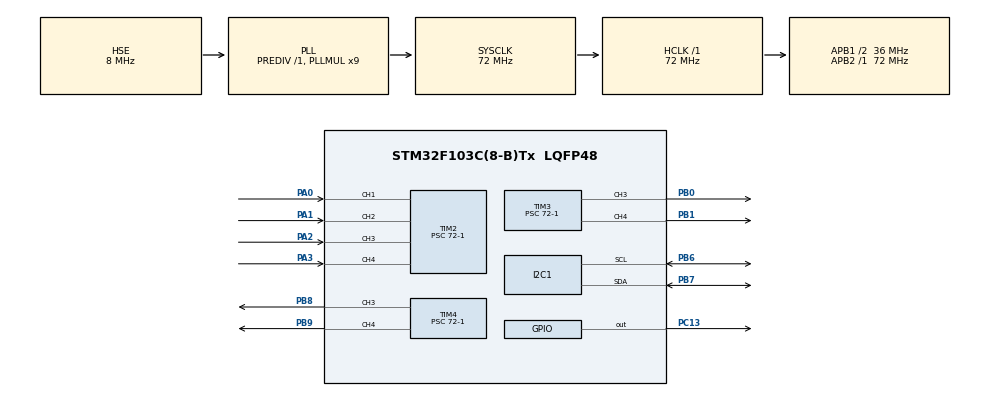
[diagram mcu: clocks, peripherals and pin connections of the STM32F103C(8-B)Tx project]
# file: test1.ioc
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I2C1.DutyCycle=I2C_DUTYCYCLE_16_9
I2C1.I2C_Mode=I2C_Fast
Mcu.Family=STM32F1
Mcu.Name=STM32F103C(8-B)Tx
Mcu.Package=LQFP48
NVIC.PriorityGroup=NVIC_PRIORITYGROUP_4
NVIC.TIM2_IRQn=true\:0\:0\:true\:false\:true\:true\:true\:true
NVIC.TIM3_IRQn=true\:0\:0\:false\:false\:true\:true\:true\:true
NVIC.TIM4_IRQn=true\:0\:0\:false\:false\:true\:true\:true\:true
PA0-WKUP.Signal=S_TIM2_CH1_ETR
PA1.Signal=S_TIM2_CH2
PA13.Mode=Serial_Wire
PA13.Signal=SYS_JTMS-SWDIO
PA14.Mode=Serial_Wire
PA14.Signal=SYS_JTCK-SWCLK
PA2.Signal=S_TIM2_CH3
PA3.Signal=S_TIM2_CH4
PB0.Signal=S_TIM3_CH3
PB1.Signal=S_TIM3_CH4
PB6.Mode=I2C
PB6.Signal=I2C1_SCL
PB7.Mode=I2C
PB7.Signal=I2C1_SDA
PB8.Signal=S_TIM4_CH3
PB9.Signal=S_TIM4_CH4
PC13-TAMPER-RTC.Signal=GPIO_Output
PD0-OSC_IN.Mode=HSE-External-Oscillator
PD0-OSC_IN.Signal=RCC_OSC_IN
PD1-OSC_OUT.Mode=HSE-External-Oscillator
PD1-OSC_OUT.Signal=RCC_OSC_OUT
ProjectManager.HeapSize=0x200
ProjectManager.StackSize=0x400
ProjectManager.TargetToolchain=STM32CubeIDE
RCC.AHBFreq_Value=72000000
RCC.APB1CLKDivider=RCC_HCLK_DIV2
RCC.APB1Freq_Value=36000000
RCC.APB1TimFreq_Value=72000000
RCC.APB2Freq_Value=72000000
RCC.APB2TimFreq_Value=72000000
RCC.HCLKFreq_Value=72000000
RCC.PLLMUL=RCC_PLL_MUL9
RCC.PLLSourceVirtual=RCC_PLLSOURCE_HSE
RCC.SYSCLKFreq_VALUE=72000000
RCC.SYSCLKSource=RCC_SYSCLKSOURCE_PLLCLK
RCC.USBFreq_Value=48000000
RCC.USBPrescaler=RCC_USBCLKSOURCE_PLL_DIV1_5
SH.S_TIM2_CH1_ETR.0=TIM2_CH1,Input_Capture1_from_TI1
SH.S_TIM2_CH2.0=TIM2_CH2,Input_Capture2_from_TI2
SH.S_TIM2_CH3.0=TIM2_CH3,Input_Capture3_from_TI3
SH.S_TIM2_CH4.0=TIM2_CH4,Input_Capture4_from_TI4
SH.S_TIM3_CH3.0=TIM3_CH3,PWM Generation3 CH3
SH.S_TIM3_CH4.0=TIM3_CH4,PWM Generation4 CH4
SH.S_TIM4_CH3.0=TIM4_CH3,PWM Generation3 CH3
SH.S_TIM4_CH4.0=TIM4_CH4,PWM Generation4 CH4
TIM2.Channel-Input_Capture1_from_TI1=TIM_CHANNEL_1
TIM2.Channel-Input_Capture2_from_TI2=TIM_CHANNEL_2
TIM2.Channel-Input_Capture3_from_TI3=TIM_CHANNEL_3
TIM2.Channel-Input_Capture4_from_TI4=TIM_CHANNEL_4
TIM2.Prescaler=72-1
TIM3.Channel-PWM\ Generation3\ CH3=TIM_CHANNEL_3
TIM3.Channel-PWM\ Generation4\ CH4=TIM_CHANNEL_4
TIM3.Period=5000
TIM3.Prescaler=72-1
TIM3.Pulse-PWM\ Generation3\ CH3=0
TIM3.Pulse-PWM\ Generation4\ CH4=0
TIM4.Channel-PWM\ Generation3\ CH3=TIM_CHANNEL_3
TIM4.Channel-PWM\ Generation4\ CH4=TIM_CHANNEL_4
TIM4.OCMode_PWM-PWM\ Generation3\ CH3=TIM_OCMODE_PWM1
TIM4.Period=5000
TIM4.Prescaler=72-1
TIM4.Pulse-PWM\ Generation3\ CH3=0
TIM4.Pulse-PWM\ Generation4\ CH4=0
VP_TIM3_VS_ClockSourceINT.Mode=Internal
VP_TIM4_VS_ClockSourceINT.Mode=Internal
board=custom

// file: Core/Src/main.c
/* USER CODE BEGIN Header */
/**
 ******************************************************************************
 * @file           : main.c
 * @brief          : Main program body
 ******************************************************************************
 * @attention
 *
 * Copyright (c) 2022 STMicroelectronics.
 * All rights reserved.
 *
 * This software is licensed under terms that can be found in the LICENSE file
 * in the root directory of this software component.
 * If no LICENSE file comes with this software, it is provided AS-IS.
 *
 ******************************************************************************
 */
/* USER CODE END Header */
#include "main.h"

/* USER CODE BEGIN Includes */
//#include "usbd_cdc_if.h"
#include "math.h"
#include "stdlib.h"
/* USER CODE END Includes */

I2C_HandleTypeDef hi2c1;

TIM_HandleTypeDef htim2;
TIM_HandleTypeDef htim3;
TIM_HandleTypeDef htim4;

void SystemClock_Config(void);
static void MX_GPIO_Init(void);
static void MX_I2C1_Init(void);
static void MX_TIM2_Init(void);
static void MX_TIM3_Init(void);
static void MX_TIM4_Init(void);

/* USER CODE BEGIN 0 */
//Input capture callback
uint32_t channel_1_start, channel_1;
uint32_t channel_2_start, channel_2;
uint32_t channel_3_start, channel_3;
uint32_t channel_4_start, channel_4;

volatile uint32_t diff1 = 0, diff2 = 0, diff3 = 0, diff4 = 0;

uint8_t firt_capture1 = 0, firt_capture2 = 0, firt_capture3 = 0, firt_capture4 =
		0;	//fist_capture? 0-no 1-yes

void HAL_TIM_IC_CaptureCallback(TIM_HandleTypeDef *htim) {
	if (htim->Channel == HAL_TIM_ACTIVE_CHANNEL_1) {
		if (firt_capture1 == 0) {
			channel_1_start = HAL_TIM_ReadCapturedValue(htim, TIM_CHANNEL_1);
			firt_capture1 = 1;
			__HAL_TIM_SET_CAPTUREPOLARITY(htim, TIM_CHANNEL_1,
					TIM_INPUTCHANNELPOLARITY_FALLING);
		} else if (firt_capture1 == 1) {
			channel_1 = HAL_TIM_ReadCapturedValue(htim, TIM_CHANNEL_1);
			if (channel_1 > channel_1_start)
				diff1 = channel_1 - channel_1_start;
			else if (channel_1 < channel_1_start)
				diff1 = (0xffff - channel_1_start) + channel_1;

			__HAL_TIM_SET_CAPTUREPOLARITY(htim, TIM_CHANNEL_1,
					TIM_INPUTCHANNELPOLARITY_RISING);
			firt_capture1 = 0;
		}
	}
	if (htim->Channel == HAL_TIM_ACTIVE_CHANNEL_2) {
		if (firt_capture2 == 0) {					//read
			channel_2_start = HAL_TIM_ReadCapturedValue(htim, TIM_CHANNEL_2);
			firt_capture2 = 1;
			__HAL_TIM_SET_CAPTUREPOLARITY(htim, TIM_CHANNEL_2,
					TIM_INPUTCHANNELPOLARITY_FALLING);
		} else if (firt_capture2 == 1) {
			channel_2 = HAL_TIM_ReadCapturedValue(htim, TIM_CHANNEL_2);
			if (channel_2 > channel_2_start)
				diff2 = channel_2 - channel_2_start;
			else if (channel_2 < channel_2_start)
				diff2 = (0xffff - channel_2_start) + channel_2;

			__HAL_TIM_SET_CAPTUREPOLARITY(htim, TIM_CHANNEL_2,
					TIM_INPUTCHANNELPOLARITY_RISING);
			firt_capture2 = 0;
		}
	}
	if (htim->Channel == HAL_TIM_ACTIVE_CHANNEL_3) {
		if (firt_capture3 == 0) {					//read
			channel_3_start = HAL_TIM_ReadCapturedValue(htim, TIM_CHANNEL_3);
			firt_capture3 = 1;
			//Change the input capture mode to the falling edge of the pulse
			__HAL_TIM_SET_CAPTUREPOLARITY(htim, TIM_CHANNEL_3,
					TIM_INPUTCHANNELPOLARITY_FALLING);
		} else if (firt_capture3 == 1) {
			channel_3 = HAL_TIM_ReadCapturedValue(htim, TIM_CHANNEL_3);
			if (channel_3 > channel_3_start)
				diff3 = channel_3 - channel_3_start;
			else if (channel_3 < channel_3_start)
				diff3 = (0xffff - channel_3_start) + channel_3;

			__HAL_TIM_SET_CAPTUREPOLARITY(htim, TIM_CHANNEL_3,
					TIM_INPUTCHANNELPOLARITY_RISING);
			firt_capture3 = 0;
		}
	}
	if (htim->Channel == HAL_TIM_ACTIVE_CHANNEL_4) {
		if (firt_capture4 == 0) {					//read
			channel_4_start = HAL_TIM_ReadCapturedValue(htim, TIM_CHANNEL_4);
			firt_capture4 = 1;
			//Change the input capture mode to the falling edge of the pulse
			__HAL_TIM_SET_CAPTUREPOLARITY(htim, TIM_CHANNEL_4,
					TIM_INPUTCHANNELPOLARITY_FALLING);
		} else if (firt_capture4 == 1) {
			channel_4 = HAL_TIM_ReadCapturedValue(htim, TIM_CHANNEL_4);
			if (channel_4 > channel_4_start)
				diff4 = channel_4 - channel_4_start;
			else if (channel_4 < channel_4_start)
				diff4 = (0xffff - channel_4_start) + channel_4;

			__HAL_TIM_SET_CAPTUREPOLARITY(htim, TIM_CHANNEL_4,
					TIM_INPUTCHANNELPOLARITY_RISING);
			firt_capture4 = 0;
		}
	}
}
//MPU6050
///////////////////////////////////////////////////////////////////////////////////////////////////////////////////////////////////////
#define MPU6050_ADDR 0xD0
#define SMPLRT_DIV_REG 0x19
#define GYRO_CONFIG_REG 0x1B
#define ACCEL_CONFIG_REG 0x1C
#define ACCEL_XOUT_H_REG 0x3B
#define TEMP_OUT_H_REG 0x41
#define GYRO_XOUT_H_REG 0x43
#define PWR_MGMT_1_REG 0x6B
#define WHO_AM_I_REG 0x75

int16_t Accel_X_RAW = 0, Accel_Y_RAW = 0, Accel_Z_RAW = 0, Gyro_X_RAW = 0,
		Gyro_Y_RAW = 0, Gyro_Z_RAW = 0;
int16_t temp_raw = 0;
float Ax, Ay, Az, Gx, Gy, Gz, temp;

//the gyro offset
//int16_t os_Ax = 71, os_Ay = 96, os_Az = 4456, os_Gx = -299, os_Gy = -43, os_Gz = 13;	//1
//int16_t os_Ax = 79, os_Ay = 90, os_Az = 4463, os_Gx = -301, os_Gy = -43, os_Gz = 13;	//2
//int16_t os_Ax = -50, os_Ay = 115, os_Az = 4569, os_Gx = -302, os_Gy = -43, os_Gz = 13;	//3
int16_t os_Ax = 114, os_Ay = 56, os_Az = 4566, os_Gx = -300, os_Gy = -52,
		os_Gz = 11;	//4
//int16_t os_Ax = 0, os_Ay = 0, os_Az = 0, os_Gx = 0, os_Gy = 0, os_Gz = 0;

int32_t ax_cal = 0, ay_cal = 0, az_cal = 0, gx_cal = 0, gy_cal = 0, gz_cal = 0;

void MPU6050_Init(void) {
	uint8_t check, Data;

	// check device ID WHO_AM_I

	HAL_I2C_Mem_Read(&hi2c1, MPU6050_ADDR, WHO_AM_I_REG, 1, &check, 1, 1000);

	if (check == 104) // 0x68 will be returned by the sensor if everything goes well
			{
		// power management register 0X6B we should write all 0's to wake the sensor up
		Data = 0;
		HAL_I2C_Mem_Write(&hi2c1, MPU6050_ADDR, PWR_MGMT_1_REG, 1, &Data, 1,
				1000);	//done

		// Set Gyroscopic configuration in GYRO_CONFIG Register
		// XG_ST=0,YG_ST=0,ZG_ST=0, FS_SEL=1 -> ± 500 °/s
		Data = 0x08;
		HAL_I2C_Mem_Write(&hi2c1, MPU6050_ADDR, GYRO_CONFIG_REG, 1, &Data, 1,
				1000);
		// Set accelerometer configuration in ACCEL_CONFIG Register
		// XA_ST=0,YA_ST=0,ZA_ST=0, FS_SEL=3 -> ± 8g
		Data = 0x10;
		HAL_I2C_Mem_Write(&hi2c1, MPU6050_ADDR, ACCEL_CONFIG_REG, 1, &Data, 1,
				1000);

		Data = 0x03;
		HAL_I2C_Mem_Write(&hi2c1, MPU6050_ADDR, 0x1A, 1, &Data, 1, 1000);
	}
}

void MPU6050_Read(void) {
	uint8_t Rec_Data[14];

	HAL_I2C_Mem_Read(&hi2c1, MPU6050_ADDR, ACCEL_XOUT_H_REG, 1, Rec_Data, 14,
			1000);

	Accel_X_RAW = (int16_t) Rec_Data[0] << 8 | Rec_Data[1];
	Accel_Y_RAW = (int16_t) Rec_Data[2] << 8 | Rec_Data[3];
	Accel_Z_RAW = (int16_t) Rec_Data[4] << 8 | Rec_Data[5];
	temp_raw = (int16_t) Rec_Data[6] << 8 | Rec_Data[7];
	Gyro_X_RAW = (int16_t) Rec_Data[8] << 8 | Rec_Data[9];
	Gyro_Y_RAW = (int16_t) Rec_Data[10] << 8 | Rec_Data[11];
	Gyro_Z_RAW = (int16_t) Rec_Data[12] << 8 | Rec_Data[13];

	Gyro_Y_RAW *= -1;
	Gyro_Z_RAW *= -1;

	Accel_X_RAW -= os_Ax;
	Accel_Y_RAW -= os_Ay;
	Accel_Z_RAW -= os_Az;
	Gyro_X_RAW -= os_Gx;
	Gyro_Y_RAW -= os_Gy;
	Gyro_Z_RAW -= os_Gz;
}

void offset_calculate() {
	for (int i = 0; i < 500; i++) {
		MPU6050_Read();
		HAL_Delay(4);
	}
	for (int j = 0; j < 3000; j++) {
		MPU6050_Read();
		ax_cal += Accel_X_RAW;
		ay_cal += Accel_Y_RAW;
		az_cal += Accel_Z_RAW;
		gx_cal += Gyro_X_RAW;
		gy_cal += Gyro_Y_RAW;
		gz_cal += Gyro_Z_RAW;
		HAL_Delay(4);
	}
	os_Ax = ax_cal / 3000;
	os_Ay = ay_cal / 3000;
	os_Az = az_cal / 3000;
	os_Gx = gx_cal / 3000;
	os_Gy = gy_cal / 3000;
	os_Gz = gz_cal / 3000;
}

//PID gain and limit settings
#define roll     0
#define pitch    1
#define yaw      2
// ------------- Global variables used for PID controller --------------------
float pid_set_points[3] = { 0, 0, 0 }; // roll, pitch, yaw
int pid_max[3] = { 180, 180, 20 };		 // roll, pitch, yaw
// Errors
float errors[3]; // Measured errors (compared to instructions) : [roll, pitch, yaw]
float delta_err[3] = { 0, 0, 0 }; // Error deltas in that order   : roll, pitch, yaw
float error_sum[3] = { 0, 0, 0 }; // Error sums (used for integral component) : [roll, pitch, yaw]
float previous_error[3] = { 0, 0, 0 }; // Last errors (used for derivative component) : [roll, pitch, yaw]
// PID coefficients
//float Kp[3] = { 0.4, 0.4, 0.4 };     	   // P: roll, pitch, yaw
float Kp[3] = { 4, 4, 0.4 };
float Ki[3] = {0.15, 0.15, 0.02}; 	 	// I: roll, pitch, yaw
//float Ki[3] = { 0.0, 0.0, 0.0 };
float Kd[3] = { 0.01, 0.01, 0 };         // D: roll, pitch, yaw

float pid_roll = 0;
float pid_pitch = 0;
float pid_yaw = 0;
// ---------------------------------------------------------------------------

// ----------------------- MPU variables -------------------------------------
// The RAW values got from gyro (in °/sec) in that order: X, Y, Z
int gyro_raw[3] = { 0, 0, 0 };
// Average gyro offsets of each axis in that order: X, Y, Z
long gyro_offset[3] = { 0, 0, 0 };
// Calculated angles from gyro's values in that order: X, Y, Z
float gyro_angle[3] = { 0, 0, 0 };
// The RAW values got from accelerometer (in m/sec²) in that order: X, Y, Z
int acc_raw[3] = { 0, 0, 0 };
// Calculated angles from accelerometer's values in that order: X, Y, Z
float acc_angle[3] = { 0, 0, 0 };
// Total 3D acceleration vector in m/s²
long acc_total_vector;
// Calculated angular motion on each axis: roll, pitch, yaw
float angular_motions[3] = { 0, 0, 0 };
float pre_angular_motions[3] = { 0, 0, 0 };
float measures[3] = { 0, 0, 0 };

uint8_t active, first_angle = 0;
int16_t esc1, esc2, esc3, esc4, throttle;
uint32_t looptimer;
float pitch_adjust, roll_adjust, pitch_angle, roll_angle;

//KALMAN-------------------------------------------------------------------------------------------
float Kalman_angle_pitch_acc, Kalman_angle_roll_acc, Kalman_Gx, Kalman_Gy,
		Kalman_Gz;

float _err_measure;
float _err_estimate;
float _q;
float _current_estimate;
float _last_estimate = 0;
float _kalman_gain;
void KalmanFilterX(float mea_e, float est_e, float q) {
	_err_measure = mea_e;
	_err_estimate = est_e;
	_q = q;
}
float updateEstimateX(float mea) {
	_kalman_gain = _err_estimate / (_err_estimate + _err_measure);
	_current_estimate = _last_estimate + _kalman_gain * (mea - _last_estimate);
	_err_estimate = (1.0 - _kalman_gain) * _err_estimate
			+ fabs(_last_estimate - _current_estimate) * _q;
	_last_estimate = _current_estimate;
	return _current_estimate;
}

float _err_measure1;
float _err_estimate1;
float _q1;
float _current_estimate1;
float _last_estimate1 = 0;
float _kalman_gain1;
void KalmanFilterY(float mea_e1, float est_e1, float q1) {
	_err_measure1 = mea_e1;
	_err_estimate1 = est_e1;
	_q1 = q1;
}
float updateEstimateY(float mea1) {
	_kalman_gain1 = _err_estimate1 / (_err_estimate1 + _err_measure1);
	_current_estimate1 = _last_estimate1
			+ _kalman_gain1 * (mea1 - _last_estimate1);
	_err_estimate1 = (1.0 - _kalman_gain1) * _err_estimate1
			+ fabs(_last_estimate1 - _current_estimate1) * _q1;
	_last_estimate1 = _current_estimate1;
	return _current_estimate1;
}

float _err_measure2;
float _err_estimate2;
float _q2;
float _current_estimate2;
float _last_estimate2 = 0;
float _kalman_gain2;
void KalmanFilterGX(float mea_e2, float est_e2, float q2) {
	_err_measure2 = mea_e2;
	_err_estimate2 = est_e2;
	_q2 = q2;
}
float updateEstimateGX(float mea2) {
	_kalman_gain2 = _err_estimate2 / (_err_estimate2 + _err_measure2);
	_current_estimate2 = _last_estimate2
			+ _kalman_gain2 * (mea2 - _last_estimate2);
	_err_estimate2 = (1.0 - _kalman_gain2) * _err_estimate2
			+ fabs(_last_estimate2 - _current_estimate2) * _q2;
	_last_estimate2 = _current_estimate2;
	return _current_estimate2;
}

float _err_measure3;
float _err_estimate3;
float _q3;
float _current_estimate3;
float _last_estimate3 = 0;
float _kalman_gain3;
void KalmanFilterGY(float mea_e3, float est_e3, float q3) {
	_err_measure3 = mea_e3;
	_err_estimate3 = est_e3;
	_q3 = q3;
}
float updateEstimateGY(float mea3) {
	_kalman_gain3 = _err_estimate3 / (_err_estimate3 + _err_measure3);
	_current_estimate3 = _last_estimate3
			+ _kalman_gain3 * (mea3 - _last_estimate3);
	_err_estimate3 = (1.0 - _kalman_gain3) * _err_estimate3
			+ fabs(_last_estimate3 - _current_estimate3) * _q3;
	_last_estimate3 = _current_estimate3;
	return _current_estimate3;
}

float _err_measure4;
float _err_estimate4;
float _q4;
float _current_estimate4;
float _last_estimate4 = 0;
float _kalman_gain4;
void KalmanFilterGZ(float mea_e4, float est_e4, float q4) {
	_err_measure4 = mea_e4;
	_err_estimate4 = est_e4;
	_q4 = q4;
}
float updateEstimateGZ(float mea4) {
	_kalman_gain4 = _err_estimate4 / (_err_estimate4 + _err_measure4);
	_current_estimate4 = _last_estimate4
			+ _kalman_gain4 * (mea4 - _last_estimate4);
	_err_estimate4 = (1.0 - _kalman_gain4) * _err_estimate4
			+ fabs(_last_estimate4 - _current_estimate4) * _q4;
	_last_estimate4 = _current_estimate4;
	return _current_estimate4;
}

float _err_measureEsc1;
float _err_estimateEsc1;
float _qEsc1;
float _current_estimateEsc1;
float _last_estimateEsc1 = 0;
float _kalman_gainEsc1;
void Kalman_esc1(float mea_eEsc1, float est_eEsc1, float qEsc1) {
	_err_measureEsc1 = mea_eEsc1;
	_err_estimateEsc1 = est_eEsc1;
	_qEsc1 = qEsc1;
}
float update_esc1(float meaEsc1) {
	_kalman_gainEsc1 = _err_estimateEsc1
			/ (_err_estimateEsc1 + _err_measureEsc1);
	_current_estimateEsc1 = _last_estimateEsc1
			+ _kalman_gainEsc1 * (meaEsc1 - _last_estimateEsc1);
	_err_estimateEsc1 = (1.0 - _kalman_gainEsc1) * _err_estimateEsc1
			+ fabs(_last_estimateEsc1 - _current_estimateEsc1) * _qEsc1;
	_last_estimateEsc1 = _current_estimateEsc1;
	return _current_estimateEsc1;
}

float _err_measureEsc2;
float _err_estimateEsc2;
float _qEsc2;
float _current_estimateEsc2;
float _last_estimateEsc2 = 0;
float _kalman_gainEsc2;
void Kalman_esc2(float mea_eEsc2, float est_eEsc2, float qEsc2) {
	_err_measureEsc2 = mea_eEsc2;
	_err_estimateEsc2 = est_eEsc2;
	_qEsc2 = qEsc2;
}
float update_esc2(float meaEsc2) {
	_kalman_gainEsc2 = _err_estimateEsc2
			/ (_err_estimateEsc2 + _err_measureEsc2);
	_current_estimateEsc2 = _last_estimateEsc2
			+ _kalman_gainEsc2 * (meaEsc2 - _last_estimateEsc2);
	_err_estimateEsc2 = (1.0 - _kalman_gainEsc2) * _err_estimateEsc2
			+ fabs(_last_estimateEsc2 - _current_estimateEsc2) * _qEsc2;
	_last_estimateEsc2 = _current_estimateEsc2;
	return _current_estimateEsc2;
}

float _err_measureEsc3;
float _err_estimateEsc3;
float _qEsc3;
float _current_estimateEsc3;
float _last_estimateEsc3 = 0;
float _kalman_gainEsc3;
void Kalman_esc3(float mea_eEsc3, float est_eEsc3, float qEsc3) {
	_err_measureEsc3 = mea_eEsc3;
	_err_estimateEsc3 = est_eEsc3;
	_qEsc3 = qEsc3;
}
float update_esc3(float meaEsc3) {
	_kalman_gainEsc3 = _err_estimateEsc3
			/ (_err_estimateEsc3 + _err_measureEsc3);
	_current_estimateEsc3 = _last_estimateEsc3
			+ _kalman_gainEsc3 * (meaEsc3 - _last_estimateEsc3);
	_err_estimateEsc3 = (1.0 - _kalman_gainEsc3) * _err_estimateEsc3
			+ fabs(_last_estimateEsc3 - _current_estimateEsc3) * _qEsc3;
	_last_estimateEsc3 = _current_estimateEsc3;
	return _current_estimateEsc3;
}

float _err_measureEsc4;
float _err_estimateEsc4;
float _qEsc4;
float _current_estimateEsc4;
float _last_estimateEsc4 = 0;
float _kalman_gainEsc4;
void Kalman_esc4(float mea_eEsc4, float est_eEsc4, float qEsc4) {
	_err_measureEsc4 = mea_eEsc4;
	_err_estimateEsc4 = est_eEsc4;
	_qEsc4 = qEsc4;
}
float update_esc4(float meaEsc4) {
	_kalman_gainEsc4 = _err_estimateEsc4
			/ (_err_estimateEsc4 + _err_measureEsc4);
	_current_estimateEsc4 = _last_estimateEsc4
			+ _kalman_gainEsc4 * (meaEsc4 - _last_estimateEsc4);
	_err_estimateEsc4 = (1.0 - _kalman_gainEsc4) * _err_estimateEsc4
			+ fabs(_last_estimateEsc4 - _current_estimateEsc4) * _qEsc4;
	_last_estimateEsc4 = _current_estimateEsc4;
	return _current_estimateEsc4;
}
/////////////////////////////////////////////////////////////////////////////////////////////////////////////////
/* USER CODE END 0 */

int main(void) {

	/* MCU Configuration--------------------------------------------------------*/

	/* Reset of all peripherals, Initializes the Flash interface and the Systick. */
	HAL_Init();

	/* Configure the system clock */
	SystemClock_Config();

	/* Initialize all configured peripherals */
	MX_GPIO_Init();
	MX_I2C1_Init();
	MX_TIM2_Init();
	MX_TIM3_Init();
	MX_TIM4_Init();
	/* USER CODE BEGIN 2 */
	MPU6050_Init();

	HAL_GPIO_WritePin(GPIOC, GPIO_PIN_13, GPIO_PIN_RESET);
	//offset_calculate();

	for (int i = 0; i < 20; i++) {
		HAL_GPIO_TogglePin(GPIOC, GPIO_PIN_13);
		HAL_Delay(100);
	}

	HAL_TIM_IC_Start_IT(&htim2, TIM_CHANNEL_1);
	HAL_TIM_IC_Start_IT(&htim2, TIM_CHANNEL_2);
	HAL_TIM_IC_Start_IT(&htim2, TIM_CHANNEL_3);
	HAL_TIM_IC_Start_IT(&htim2, TIM_CHANNEL_4);
	//wait for connection tx-rx
	while (diff1 < 990 || diff2 < 990 || diff3 < 990 || diff4 < 990) {
	}
	while (diff3 < 990 || diff3 > 1050) {
	}

	HAL_TIM_PWM_Start(&htim3, TIM_CHANNEL_3);
	HAL_TIM_PWM_Start(&htim3, TIM_CHANNEL_4);
	HAL_TIM_PWM_Start(&htim4, TIM_CHANNEL_3);
	HAL_TIM_PWM_Start(&htim4, TIM_CHANNEL_4);

	//------------------------------------------------------
	//esc calibration
	__HAL_TIM_SET_COMPARE(&htim3, TIM_CHANNEL_3, 2000);	//fl
	__HAL_TIM_SET_COMPARE(&htim3, TIM_CHANNEL_4, 2000);	//fr
	__HAL_TIM_SET_COMPARE(&htim4, TIM_CHANNEL_3, 2000);	//rr
	__HAL_TIM_SET_COMPARE(&htim4, TIM_CHANNEL_4, 2000); //rl

	HAL_Delay(50);

	__HAL_TIM_SET_COMPARE(&htim3, TIM_CHANNEL_3, 1000);	//fl
	__HAL_TIM_SET_COMPARE(&htim3, TIM_CHANNEL_4, 1000);	//fr
	__HAL_TIM_SET_COMPARE(&htim4, TIM_CHANNEL_3, 1000);	//rr
	__HAL_TIM_SET_COMPARE(&htim4, TIM_CHANNEL_4, 1000); //rl

	HAL_Delay(300);
	//------------------------------------------------------

	HAL_GPIO_WritePin(GPIOC, GPIO_PIN_13, GPIO_PIN_SET);

	for (int i = 0; i < 20; i++) {
		HAL_GPIO_TogglePin(GPIOC, GPIO_PIN_13);
		HAL_Delay(100);
	}

	looptimer = HAL_GetTick();

	/* USER CODE END 2 */

	/* Infinite loop */
	while (1) {

		/* USER CODE BEGIN 3 */
		MPU6050_Read(); //ok
		// Apply low-pass filter (10Hz cutoff frequency)
		angular_motions[roll] = 0.7 * angular_motions[roll]
				+ ((float) Gyro_X_RAW * 0.3 / 65.5); //Gyro pid input is deg/sec.
		angular_motions[pitch] = 0.7 * angular_motions[pitch]
				+ ((float) Gyro_Y_RAW * 0.3 / 65.5);
		angular_motions[yaw] = 0.7 * angular_motions[yaw]
				+ ((float) Gyro_Z_RAW * 0.3 / 65.5);

		// Angle calculation using integration
		gyro_angle[roll] += (float) (Gyro_X_RAW / (250 * 65.5));
		gyro_angle[pitch] += (float) (Gyro_Y_RAW / (250 * 65.5));

		// Transfer roll to pitch if IMU has yawed
		gyro_angle[pitch] -= gyro_angle[roll]
				* sin((float) Gyro_Z_RAW * (M_PI / (250 * 65.5 * 180)));
		gyro_angle[roll] += gyro_angle[pitch]
				* sin((float) Gyro_Z_RAW * (M_PI / (250 * 65.5 * 180)));

		//Accelerometer angle calculations
		//acc_total_vector = sqrt(pow(Accel_X_RAW, 2) + pow(Accel_Y_RAW, 2) + pow(Accel_Z_RAW, 2));
		acc_total_vector = sqrt(pow(os_Ax, 2) + pow(os_Ay, 2) + pow(os_Az, 2));
		if (Accel_X_RAW > acc_total_vector)
			Accel_X_RAW = acc_total_vector; //Limit the maximum accelerometer value.
		if (Accel_X_RAW < -acc_total_vector)
			Accel_X_RAW = -acc_total_vector;
		if (Accel_Y_RAW > acc_total_vector)
			Accel_Y_RAW = acc_total_vector; //Limit the maximum accelerometer value.
		if (Accel_Y_RAW < -acc_total_vector)
			Accel_Y_RAW = -acc_total_vector;

		acc_angle[roll] = asin((float) Accel_X_RAW / acc_total_vector)
				* (-180 / M_PI); //Calculate the pitch angle.
		acc_angle[pitch] = asin((float) Accel_Y_RAW / acc_total_vector)
				* (180 / M_PI); //Calculate the roll angle.

		gyro_angle[roll] = gyro_angle[roll] * 0.995 + acc_angle[roll] * 0.005;
		gyro_angle[pitch] = gyro_angle[pitch] * 0.995
				+ acc_angle[pitch] * 0.005;

		// To dampen the pitch and roll angles a complementary filter is used
		measures[roll] = measures[roll] * 0.8 + gyro_angle[roll] * 0.2;
		measures[pitch] = measures[pitch] * 0.8 + gyro_angle[pitch] * 0.2;
		measures[yaw] = Gyro_Z_RAW / 65.5; //Store the angular motion for this axis

		pitch_adjust = measures[pitch] * 15;
		roll_adjust = measures[roll] * 15;

		pitch_angle = measures[pitch];
		roll_angle = measures[roll];

		//active
		if (diff3 < 1050 && diff4 < 1050)
			active = 1;
		if (active == 1 && diff3 < 1050 && diff4 > 1450) {
			active = 2;
			//When this is the first time.
			gyro_angle[roll] = acc_angle[roll];
			gyro_angle[pitch] = acc_angle[pitch];

			//Reset the PID controllers for a bumpless start.
			errors[0] = 0;
			errors[1] = 0;
			errors[2] = 0;
			delta_err[0] = 0;
			delta_err[1] = 0;
			delta_err[2] = 0;
			error_sum[0] = 0;
			error_sum[1] = 0;
			error_sum[2] = 0;
			previous_error[0] = 0;
			previous_error[1] = 0;
			previous_error[2] = 0;
			pid_roll = 0;
			pid_pitch = 0;
			pid_yaw = 0;
		}
		//Stopping the motors: throttle low and yaw right.
		if (active == 2 && diff3 < 1050 && diff4 > 1950)
			active = 0;

		pid_set_points[roll] = 0;
		pid_set_points[pitch] = 0;
		pid_set_points[yaw] = 0;

		if (diff1 > 1525)
			pid_set_points[roll] = diff1 - 1525;
		else if (diff1 < 1490)
			pid_set_points[roll] = diff1 - 1490;
		pid_set_points[roll] = (pid_set_points[roll] - roll_adjust) / 3.0;

		if (diff2 > 1525)
			pid_set_points[pitch] = diff2 - 1525;
		else if (diff2 < 1490)
			pid_set_points[pitch] = diff2 - 1490;
		pid_set_points[pitch] = (pid_set_points[pitch] - pitch_adjust) / 3.0;

		if (diff3 > 1150) {  //Do not yaw when turning off the motors.
			if (diff4 > 1550)
				pid_set_points[yaw] = (diff4 - 1550) / 3.0;
			else if (diff4 < 1350)
				pid_set_points[yaw] = (diff4 - 1350) / 3.0;
		}

		// Calculate current errors
		errors[roll] = angular_motions[roll] - pid_set_points[roll];
		errors[pitch] = angular_motions[pitch] - pid_set_points[pitch];
		errors[yaw] = angular_motions[yaw] - pid_set_points[yaw];

		// Calculate sum of errors : Integral coefficients
		error_sum[roll] += errors[roll];
		error_sum[pitch] += errors[pitch];
		error_sum[yaw] += errors[yaw];

		// Keep values in acceptable range
		if (error_sum[roll] < (-180 / Ki[roll]))
			error_sum[roll] = -180 / Ki[roll];
		if (error_sum[roll] > 180 / Ki[roll])
			error_sum[roll] = 180 / Ki[roll];
		if (error_sum[pitch] < (-180 / Ki[pitch]))
			error_sum[pitch] = -180 / Ki[pitch];
		if (error_sum[pitch] > 180 / Ki[pitch])
			error_sum[pitch] = 180 / Ki[pitch];
		if (error_sum[yaw] < (-180 / Ki[yaw]))
			error_sum[yaw] = -180 / Ki[yaw];
		if (error_sum[yaw] > 180 / Ki[yaw])
			error_sum[yaw] = 180 / Ki[yaw];

		// Calculate error delta : Derivative coefficients
		delta_err[roll] = angular_motions[roll] - pre_angular_motions[roll];
		delta_err[pitch] = angular_motions[pitch] - pre_angular_motions[pitch];
		delta_err[yaw] = angular_motions[yaw] - pre_angular_motions[yaw];

		// Save current error as previous_error for next time
		pre_angular_motions[roll] = angular_motions[roll];
		pre_angular_motions[pitch] = angular_motions[pitch];
		pre_angular_motions[yaw] = angular_motions[yaw];

		throttle = diff3;

		if (throttle > 1050) {
			// PID = e.Kp + ∫e.Ki.t + Δe.Kd/t
			pid_roll = (errors[roll] * Kp[roll])
					+ (error_sum[roll] * Ki[roll]) * 0.004
					+ (delta_err[roll] * Kd[roll]) / 0.004;
			pid_pitch = (errors[pitch] * Kp[pitch])
					+ (error_sum[pitch] * Ki[pitch]) * 0.004
					+ (delta_err[pitch] * Kd[pitch]) / 0.004;
			pid_yaw = (errors[yaw] * Kp[yaw])
					+ (error_sum[yaw] * Ki[yaw]) * 0.004
					+ (delta_err[yaw] * Kd[yaw]) / 0.004;

			if (pid_roll > pid_max[roll])
				pid_roll = pid_max[roll];
			if (pid_roll < (-pid_max[roll]))
				pid_roll = -pid_max[roll];
			if (pid_pitch > pid_max[pitch])
				pid_pitch = pid_max[pitch];
			if (pid_pitch < (-pid_max[pitch]))
				pid_pitch = -pid_max[pitch];
			if (pid_yaw > pid_max[yaw])
				pid_yaw = pid_max[yaw];
			if (pid_yaw < (-pid_max[yaw]))
				pid_yaw = -pid_max[yaw];
		}

		if (active == 2) {
			if (throttle > 1800)
				throttle = 1800;

			esc1 = throttle + pid_roll + pid_pitch + pid_yaw; //Calculate the pulse for esc 1 (front-right - CCW).
			esc2 = throttle - pid_roll + pid_pitch - pid_yaw; //Calculate the pulse for esc 2 (rear-right - CW).
			esc3 = throttle - pid_roll - pid_pitch + pid_yaw; //Calculate the pulse for esc 3 (rear-left - CCW).
			esc4 = throttle + pid_roll - pid_pitch - pid_yaw; //Calculate the pulse for esc 4 (front-left - CW).

//			esc1 = update_esc1(esc1);
//			esc2 = update_esc1(esc2);
//			esc3 = update_esc1(esc3);
//			esc4 = update_esc1(esc4);

			if (esc1 < 1100)
				esc1 = 1100;  //Keep the motors running.
			if (esc2 < 1100)
				esc2 = 1100;  //Keep the motors running.
			if (esc3 < 1100)
				esc3 = 1100;  //Keep the motors running.
			if (esc4 < 1100)
				esc4 = 1100;  //Keep the motors running.

			if (esc1 > 2000)
				esc1 = 2000;  //Limit the esc-1 pulse to 2000us.
			if (esc2 > 2000)
				esc2 = 2000;  //Limit the esc-2 pulse to 2000us.
			if (esc3 > 2000)
				esc3 = 2000;  //Limit the esc-3 pulse to 2000us.
			if (esc4 > 2000)
				esc4 = 2000;  //Limit the esc-4 pulse to 2000us.
		} else {
			esc1 = 1000;
			esc2 = 1000;
			esc3 = 1000;
			esc4 = 1000;
		}

		__HAL_TIM_SET_COMPARE(&htim3, TIM_CHANNEL_3, esc1);			//fr
		__HAL_TIM_SET_COMPARE(&htim3, TIM_CHANNEL_4, esc4);			//fl
		__HAL_TIM_SET_COMPARE(&htim4, TIM_CHANNEL_3, esc2);			//br
		__HAL_TIM_SET_COMPARE(&htim4, TIM_CHANNEL_4, esc3);			//bl

		if (HAL_GetTick() - looptimer > 4) {
			HAL_GPIO_WritePin(GPIOC, GPIO_PIN_13, GPIO_PIN_RESET);
			__HAL_TIM_SET_COMPARE(&htim3, TIM_CHANNEL_3, 1000);			//fr
			__HAL_TIM_SET_COMPARE(&htim3, TIM_CHANNEL_4, 1000);			//fl
			__HAL_TIM_SET_COMPARE(&htim4, TIM_CHANNEL_3, 1000);			//br
			__HAL_TIM_SET_COMPARE(&htim4, TIM_CHANNEL_4, 1000);			//bl
		}
		while (HAL_GetTick() - looptimer < 4) {
		}
		looptimer = HAL_GetTick();
	}
	/* USER CODE END 3 */
}

void SystemClock_Config(void) {
	RCC_OscInitTypeDef RCC_OscInitStruct = { 0 };
	RCC_ClkInitTypeDef RCC_ClkInitStruct = { 0 };

	/** Initializes the RCC Oscillators according to the specified parameters
	 * in the RCC_OscInitTypeDef structure.
	 */
	RCC_OscInitStruct.OscillatorType = RCC_OSCILLATORTYPE_HSE;
	RCC_OscInitStruct.HSEState = RCC_HSE_ON;
	RCC_OscInitStruct.HSEPredivValue = RCC_HSE_PREDIV_DIV1;
	RCC_OscInitStruct.HSIState = RCC_HSI_ON;
	RCC_OscInitStruct.PLL.PLLState = RCC_PLL_ON;
	RCC_OscInitStruct.PLL.PLLSource = RCC_PLLSOURCE_HSE;
	RCC_OscInitStruct.PLL.PLLMUL = RCC_PLL_MUL9;
	if (HAL_RCC_OscConfig(&RCC_OscInitStruct) != HAL_OK) {
		Error_Handler();
	}

	/** Initializes the CPU, AHB and APB buses clocks
	 */
	RCC_ClkInitStruct.ClockType = RCC_CLOCKTYPE_HCLK | RCC_CLOCKTYPE_SYSCLK
			| RCC_CLOCKTYPE_PCLK1 | RCC_CLOCKTYPE_PCLK2;
	RCC_ClkInitStruct.SYSCLKSource = RCC_SYSCLKSOURCE_PLLCLK;
	RCC_ClkInitStruct.AHBCLKDivider = RCC_SYSCLK_DIV1;
	RCC_ClkInitStruct.APB1CLKDivider = RCC_HCLK_DIV2;
	RCC_ClkInitStruct.APB2CLKDivider = RCC_HCLK_DIV1;

	if (HAL_RCC_ClockConfig(&RCC_ClkInitStruct, FLASH_LATENCY_2) != HAL_OK) {
		Error_Handler();
	}
}

static void MX_I2C1_Init(void) {

	hi2c1.Instance = I2C1;
	hi2c1.Init.ClockSpeed = 400000;
	hi2c1.Init.DutyCycle = I2C_DUTYCYCLE_16_9;
	hi2c1.Init.OwnAddress1 = 0;
	hi2c1.Init.AddressingMode = I2C_ADDRESSINGMODE_7BIT;
	hi2c1.Init.DualAddressMode = I2C_DUALADDRESS_DISABLE;
	hi2c1.Init.OwnAddress2 = 0;
	hi2c1.Init.GeneralCallMode = I2C_GENERALCALL_DISABLE;
	hi2c1.Init.NoStretchMode = I2C_NOSTRETCH_DISABLE;
	if (HAL_I2C_Init(&hi2c1) != HAL_OK) {
		Error_Handler();
	}

}

static void MX_TIM2_Init(void) {

	TIM_MasterConfigTypeDef sMasterConfig = { 0 };
	TIM_IC_InitTypeDef sConfigIC = { 0 };

	htim2.Instance = TIM2;
	htim2.Init.Prescaler = 72 - 1;
	htim2.Init.CounterMode = TIM_COUNTERMODE_UP;
	htim2.Init.Period = 65535;
	htim2.Init.ClockDivision = TIM_CLOCKDIVISION_DIV1;
	htim2.Init.AutoReloadPreload = TIM_AUTORELOAD_PRELOAD_DISABLE;
	if (HAL_TIM_IC_Init(&htim2) != HAL_OK) {
		Error_Handler();
	}
	sMasterConfig.MasterOutputTrigger = TIM_TRGO_RESET;
	sMasterConfig.MasterSlaveMode = TIM_MASTERSLAVEMODE_DISABLE;
	if (HAL_TIMEx_MasterConfigSynchronization(&htim2, &sMasterConfig)
			!= HAL_OK) {
		Error_Handler();
	}
	sConfigIC.ICPolarity = TIM_INPUTCHANNELPOLARITY_RISING;
	sConfigIC.ICSelection = TIM_ICSELECTION_DIRECTTI;
	sConfigIC.ICPrescaler = TIM_ICPSC_DIV1;
	sConfigIC.ICFilter = 0;
	if (HAL_TIM_IC_ConfigChannel(&htim2, &sConfigIC, TIM_CHANNEL_1) != HAL_OK) {
		Error_Handler();
	}
	if (HAL_TIM_IC_ConfigChannel(&htim2, &sConfigIC, TIM_CHANNEL_2) != HAL_OK) {
		Error_Handler();
	}
	if (HAL_TIM_IC_ConfigChannel(&htim2, &sConfigIC, TIM_CHANNEL_3) != HAL_OK) {
		Error_Handler();
	}
	if (HAL_TIM_IC_ConfigChannel(&htim2, &sConfigIC, TIM_CHANNEL_4) != HAL_OK) {
		Error_Handler();
	}

}

static void MX_TIM3_Init(void) {

	TIM_ClockConfigTypeDef sClockSourceConfig = { 0 };
	TIM_MasterConfigTypeDef sMasterConfig = { 0 };
	TIM_OC_InitTypeDef sConfigOC = { 0 };

	htim3.Instance = TIM3;
	htim3.Init.Prescaler = 72 - 1;
	htim3.Init.CounterMode = TIM_COUNTERMODE_UP;
	htim3.Init.Period = 5000;
	htim3.Init.ClockDivision = TIM_CLOCKDIVISION_DIV1;
	htim3.Init.AutoReloadPreload = TIM_AUTORELOAD_PRELOAD_DISABLE;
	if (HAL_TIM_Base_Init(&htim3) != HAL_OK) {
		Error_Handler();
	}
	sClockSourceConfig.ClockSource = TIM_CLOCKSOURCE_INTERNAL;
	if (HAL_TIM_ConfigClockSource(&htim3, &sClockSourceConfig) != HAL_OK) {
		Error_Handler();
	}
	if (HAL_TIM_PWM_Init(&htim3) != HAL_OK) {
		Error_Handler();
	}
	sMasterConfig.MasterOutputTrigger = TIM_TRGO_RESET;
	sMasterConfig.MasterSlaveMode = TIM_MASTERSLAVEMODE_DISABLE;
	if (HAL_TIMEx_MasterConfigSynchronization(&htim3, &sMasterConfig)
			!= HAL_OK) {
		Error_Handler();
	}
	sConfigOC.OCMode = TIM_OCMODE_PWM1;
	sConfigOC.Pulse = 0;
	sConfigOC.OCPolarity = TIM_OCPOLARITY_HIGH;
	sConfigOC.OCFastMode = TIM_OCFAST_DISABLE;
	if (HAL_TIM_PWM_ConfigChannel(&htim3, &sConfigOC, TIM_CHANNEL_3)
			!= HAL_OK) {
		Error_Handler();
	}
	if (HAL_TIM_PWM_ConfigChannel(&htim3, &sConfigOC, TIM_CHANNEL_4)
			!= HAL_OK) {
		Error_Handler();
	}
	HAL_TIM_MspPostInit(&htim3);

}

static void MX_TIM4_Init(void) {

	TIM_ClockConfigTypeDef sClockSourceConfig = { 0 };
	TIM_MasterConfigTypeDef sMasterConfig = { 0 };
	TIM_OC_InitTypeDef sConfigOC = { 0 };

	htim4.Instance = TIM4;
	htim4.Init.Prescaler = 72 - 1;
	htim4.Init.CounterMode = TIM_COUNTERMODE_UP;
	htim4.Init.Period = 5000;
	htim4.Init.ClockDivision = TIM_CLOCKDIVISION_DIV1;
	htim4.Init.AutoReloadPreload = TIM_AUTORELOAD_PRELOAD_DISABLE;
	if (HAL_TIM_Base_Init(&htim4) != HAL_OK) {
		Error_Handler();
	}
	sClockSourceConfig.ClockSource = TIM_CLOCKSOURCE_INTERNAL;
	if (HAL_TIM_ConfigClockSource(&htim4, &sClockSourceConfig) != HAL_OK) {
		Error_Handler();
	}
	if (HAL_TIM_PWM_Init(&htim4) != HAL_OK) {
		Error_Handler();
	}
	sMasterConfig.MasterOutputTrigger = TIM_TRGO_RESET;
	sMasterConfig.MasterSlaveMode = TIM_MASTERSLAVEMODE_DISABLE;
	if (HAL_TIMEx_MasterConfigSynchronization(&htim4, &sMasterConfig)
			!= HAL_OK) {
		Error_Handler();
	}
	sConfigOC.OCMode = TIM_OCMODE_PWM1;
	sConfigOC.Pulse = 0;
	sConfigOC.OCPolarity = TIM_OCPOLARITY_HIGH;
	sConfigOC.OCFastMode = TIM_OCFAST_DISABLE;
	if (HAL_TIM_PWM_ConfigChannel(&htim4, &sConfigOC, TIM_CHANNEL_3)
			!= HAL_OK) {
		Error_Handler();
	}
	if (HAL_TIM_PWM_ConfigChannel(&htim4, &sConfigOC, TIM_CHANNEL_4)
			!= HAL_OK) {
		Error_Handler();
	}
	HAL_TIM_MspPostInit(&htim4);

}

static void MX_GPIO_Init(void) {
	GPIO_InitTypeDef GPIO_InitStruct = { 0 };

	/* GPIO Ports Clock Enable */
	__HAL_RCC_GPIOC_CLK_ENABLE();
	__HAL_RCC_GPIOD_CLK_ENABLE();
	__HAL_RCC_GPIOA_CLK_ENABLE();
	__HAL_RCC_GPIOB_CLK_ENABLE();

	/*Configure GPIO pin Output Level */
	HAL_GPIO_WritePin(GPIOC, GPIO_PIN_13, GPIO_PIN_RESET);

	/*Configure GPIO pin : PC13 */
	GPIO_InitStruct.Pin = GPIO_PIN_13;
	GPIO_InitStruct.Mode = GPIO_MODE_OUTPUT_PP;
	GPIO_InitStruct.Pull = GPIO_NOPULL;
	GPIO_InitStruct.Speed = GPIO_SPEED_FREQ_LOW;
	HAL_GPIO_Init(GPIOC, &GPIO_InitStruct);

}

void Error_Handler(void) {
	__disable_irq();
	while (1) {
	}
}
